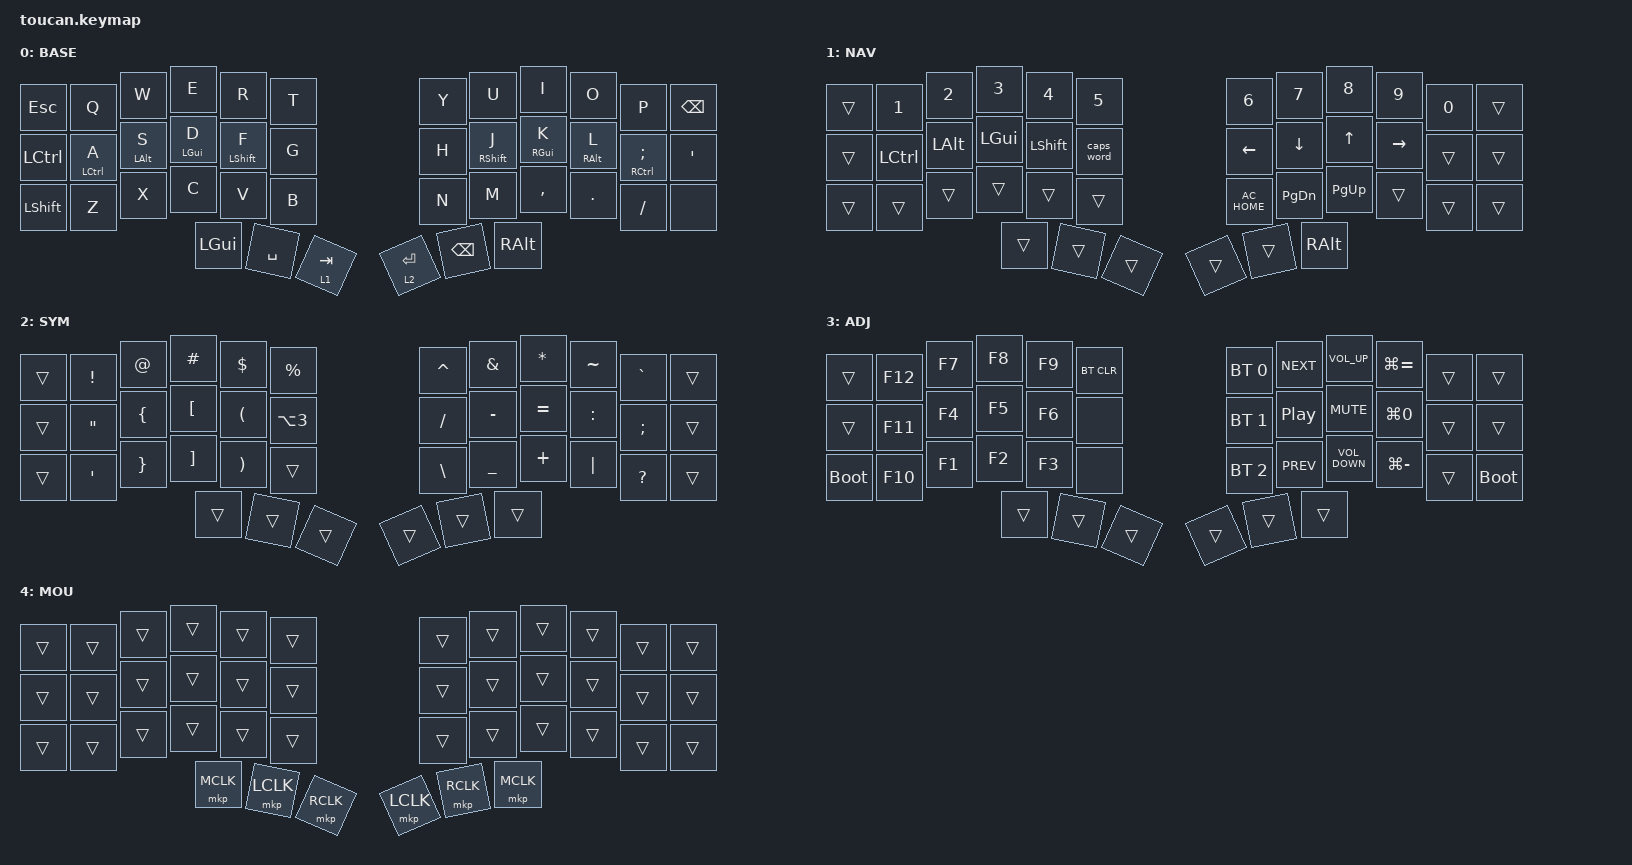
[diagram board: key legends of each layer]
#include <behaviors.dtsi>
#include <dt-bindings/zmk/bt.h>
#include <dt-bindings/zmk/keys.h>
#include <dt-bindings/zmk/pointing.h>

#define BASE 0
#define NAV  1
#define SYM  2
#define ADJ  3
#define MOU  4

&lt { quick-tap-ms = <150>; };

/ {
    conditional_layers {
        compatible = "zmk,conditional-layers";

        tri_layer {
            if-layers = <1 2>;
            then-layer = <3>;
        };
    };

    behaviors {
        hrml: hrml {
            compatible = "zmk,behavior-hold-tap";
            label = "HRML";
            bindings = <&kp>, <&kp>;

            #binding-cells = <2>;
            tapping-term-ms = <280>;
            quick-tap-ms = <175>;
            require-prior-idle-ms = <150>;
            flavor = "balanced";
            hold-trigger-on-release;
            hold-trigger-key-positions = <6 18 30 39 40 7 8 9 10 11 19 20 21 22 23 31 32 33 34 35 41>;
        };

        hrmr: hrmr {
            compatible = "zmk,behavior-hold-tap";
            label = "HRMR";
            bindings = <&kp>, <&kp>;

            #binding-cells = <2>;
            tapping-term-ms = <280>;
            quick-tap-ms = <175>;
            require-prior-idle-ms = <150>;
            flavor = "balanced";
            hold-trigger-key-positions = <0 1 2 3 4 5 12 13 14 15 16 17 24 25 26 27 28 29 36 37 38>;
            hold-trigger-on-release;
        };
    };

    combos {
        compatible = "zmk,combos";

        escape {
            bindings = <&kp ESCAPE>;
            key-positions = <19 20>;
        };
    };

    keymap {
        compatible = "zmk,keymap";

        base {
            display-name = "BASE";
            bindings = <
&kp ESCAPE  &kp Q  &kp W  &kp E  &kp R  &kp T  &kp Y  &kp U  &kp I  &kp O  &kp P  &kp BSPC  &kp LCTRL  &hrml LEFT_CONTROL A  &hrml LEFT_ALT S  &hrml LEFT_GUI D  &hrml LSHIFT F  &kp G  &kp H  &hrmr RSHIFT J  &hrmr RIGHT_GUI K  &hrmr RIGHT_ALT L  &hrmr RIGHT_CONTROL SEMI  &kp SQT  &kp LSHFT  &kp Z  &kp X  &kp C  &kp V  &kp B  &kp N  &kp M  &kp COMMA  &kp DOT  &kp FSLH  &none  &kp LGUI  &kp SPACE  &lt 1 TAB  &lt 2 ENTER  &kp BACKSPACE  &kp RALT
            >;
        };

        nav {
            display-name = "NAV";
            bindings = <
&trans  &kp N1  &kp N2  &kp N3  &kp N4  &kp N5  &kp N6  &kp N7  &kp N8  &kp N9  &kp N0  &trans  &trans  &kp LEFT_CONTROL  &kp LEFT_ALT  &kp LEFT_GUI  &kp LEFT_SHIFT  &caps_word  &kp LEFT  &kp DOWN  &kp UP  &kp RIGHT  &trans  &trans  &trans  &trans  &trans  &trans  &trans  &trans  &kp C_AC_HOME  &kp PAGE_DOWN  &kp PAGE_UP  &trans  &trans  &trans  &trans  &trans  &trans  &trans  &trans  &kp RALT
            >;
        };

        sym {
            display-name = "SYM";
            bindings = <
&trans  &kp EXCL  &kp AT  &kp HASH  &kp DLLR  &kp PRCNT  &kp CARET  &kp AMPS  &kp ASTERISK  &kp TILDE  &kp GRAVE  &trans  &trans  &kp DOUBLE_QUOTES  &kp LEFT_BRACE  &kp LEFT_BRACKET  &kp LEFT_PARENTHESIS  &kp LA(N3)  &kp SLASH  &kp MINUS  &kp EQUAL  &kp COLON  &kp SEMI  &trans  &trans  &kp SINGLE_QUOTE  &kp RIGHT_BRACE  &kp RIGHT_BRACKET  &kp RIGHT_PARENTHESIS  &trans  &kp BACKSLASH  &kp UNDER  &kp PLUS  &kp PIPE  &kp QUESTION  &trans  &trans  &trans  &trans  &trans  &trans  &trans
            >;
        };

        adj {
            display-name = "ADJ";
            bindings = <
&trans  &kp F12  &kp F7  &kp F8  &kp F9  &bt BT_CLR  &bt BT_SEL 0  &kp C_NEXT  &kp C_VOL_UP  &kp LG(EQUAL)  &trans  &trans  &trans  &kp F11  &kp F4  &kp F5  &kp F6  &none  &bt BT_SEL 1  &kp C_PLAY_PAUSE  &kp C_MUTE  &kp LG(N0)  &trans  &trans  &bootloader  &kp F10  &kp F1  &kp F2  &kp F3  &none  &bt BT_SEL 2  &kp C_PREV  &kp C_VOLUME_DOWN  &kp LG(MINUS)  &trans  &bootloader  &trans  &trans  &trans  &trans  &trans  &trans
            >;
        };

        // Momentarily active while a finger is on the trackpad (see is_touching_processor
        // in toucan.dtsi). Turns the thumb keys into mouse buttons so you can click without
        // lifting off the pad. All other keys pass through to the layer below.
        mouse {
            display-name = "MOU";
            bindings = <
&trans  &trans  &trans  &trans  &trans  &trans  &trans  &trans  &trans  &trans  &trans  &trans  &trans  &trans  &trans  &trans  &trans  &trans  &trans  &trans  &trans  &trans  &trans  &trans  &trans  &trans  &trans  &trans  &trans  &trans  &trans  &trans  &trans  &trans  &trans  &trans  &mkp MCLK  &mkp LCLK  &mkp RCLK  &mkp LCLK  &mkp RCLK  &mkp MCLK
            >;
        };
    };
};
